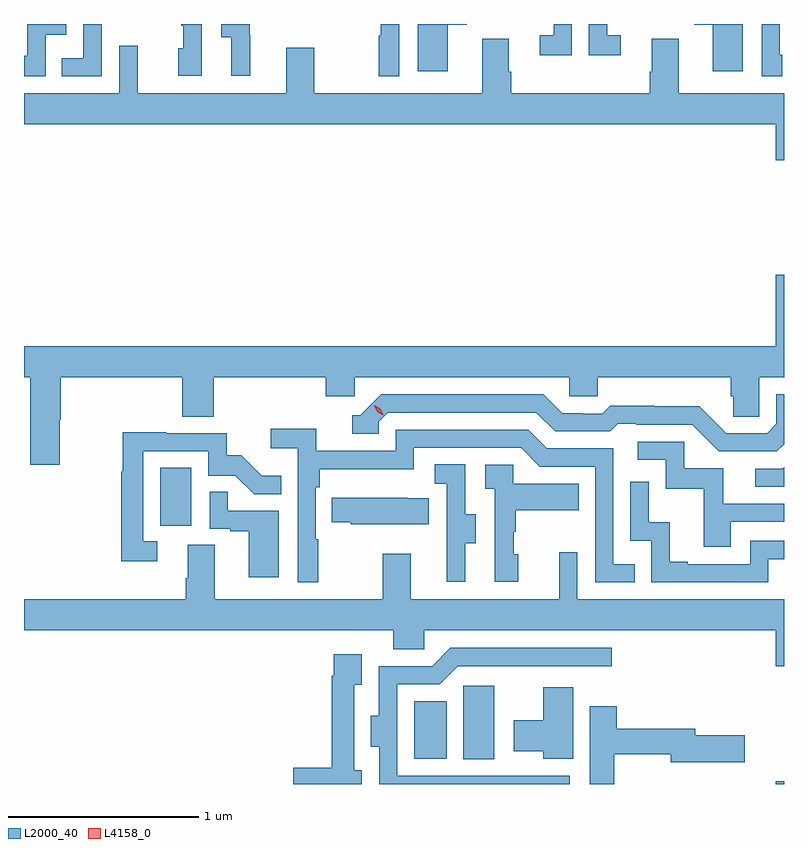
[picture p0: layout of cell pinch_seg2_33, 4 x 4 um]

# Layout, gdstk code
import gdstk
lib = gdstk.Library(unit=1e-6, precision=1e-09)
def R(c, l, rs):  # rectangles x0, y0, x1, y1
    for r in rs: c.add(gdstk.rectangle(r[:2], r[2:], *l))
def P(c, l, *ps):  # polygons
    for p in ps: c.add(gdstk.Polygon(p, *l))
L2000_40 = (2000, 40)
L4158_0 = (4158, 0)

pinch_seg2_33 = lib.new_cell('pinch_seg2_33')
R(pinch_seg2_33, L2000_40, [(1124.048,650.824,1124.092,650.839), (1122.404,650.953,1122.568,651.34), (1122.146,650.957,1122.316,651.259), (1120.808,652.182,1120.972,652.489)])
P(pinch_seg2_33, L2000_40, [(1123.876,654.824),(1123.619,654.824),(1123.619,654.819),(1123.718,654.819),(1123.718,654.576),(1123.876,654.576)],
  [(1124.083,654.661),(1124.07,654.661),(1124.07,654.824),(1123.974,654.824),(1123.974,654.549),(1124.083,654.549)],
  [(1123.234,654.765),(1123.161,654.765),(1123.161,654.824),(1123.065,654.824),(1123.065,654.66),(1123.234,654.66)],
  [(1122.975,654.824),(1122.879,654.824),(1122.879,654.765),(1122.807,654.765),(1122.807,654.66),(1122.975,654.66)],
  [(1122.066,654.824),(1121.969,654.824),(1121.969,654.761),(1121.958,654.761),(1121.958,654.549),(1122.066,654.549)],
  [(1120.5,654.824),(1120.404,654.824),(1120.404,654.645),(1120.291,654.645),(1120.291,654.549),(1120.5,654.549)],
  [(1122.322,654.819),(1122.422,654.819),(1122.422,654.824),(1122.164,654.824),(1122.164,654.576),(1122.322,654.576)],
  [(1120.206,654.768),(1120.314,654.768),(1120.314,654.824),(1120.109,654.824),(1120.109,654.658),(1120.092,654.658),(1120.092,654.549),(1120.206,654.549)],
  [(1121.282,654.765),(1121.28,654.765),(1121.28,654.824),(1121.129,654.824),(1121.129,654.754),(1121.183,654.754),(1121.183,654.552),(1121.282,654.552)],
  [(1121.028,654.824),(1120.92,654.824),(1120.92,654.815),(1120.93,654.815),(1120.93,654.696),(1120.904,654.696),(1120.904,654.552),(1121.028,654.552)],
  [(1124.092,654.46),(1123.537,654.46),(1123.537,654.746),(1123.397,654.746),(1123.397,654.572),(1123.385,654.572),(1123.385,654.46),(1122.656,654.46),(1122.656,654.572),(1122.643,654.572),(1122.643,654.746),(1122.503,654.746),(1122.503,654.46),(1121.619,654.46),(1121.619,654.7),(1121.471,654.7),(1121.471,654.46),(1120.691,654.46),(1120.691,654.709),(1120.593,654.709),(1120.593,654.46),(1120.092,654.46),(1120.092,654.296),(1124.048,654.296),(1124.048,654.108),(1124.092,654.108)],
  [(1120.281,652.742),(1120.286,652.742),(1120.286,652.964),(1120.925,652.964),(1120.925,652.756),(1121.09,652.756),(1121.09,652.964),(1121.681,652.964),(1121.681,652.866),(1121.832,652.866),(1121.832,652.964),(1122.963,652.964),(1122.963,652.866),(1123.113,652.866),(1123.113,652.964),(1123.811,652.964),(1123.811,652.866),(1123.825,652.866),(1123.825,652.756),(1123.962,652.756),(1123.962,652.964),(1124.092,652.964),(1124.092,653.503),(1124.048,653.503),(1124.048,653.128),(1120.092,653.128),(1120.092,652.964),(1120.126,652.964),(1120.126,652.503),(1120.281,652.503)],
  [(1124.092,652.612),(1124.092,652.875),(1124.052,652.875),(1124.052,652.719),(1124.004,652.671),(1123.788,652.671),(1123.646,652.813),(1123.41,652.813),(1123.41,652.816),(1123.177,652.816),(1123.135,652.773),(1123.032,652.773),(1123.032,652.776),(1122.925,652.776),(1122.826,652.875),(1121.973,652.875),(1121.862,652.764),(1121.819,652.764),(1121.819,652.668),(1121.958,652.668),(1121.958,652.731),(1122.006,652.779),(1122.789,652.779),(1122.888,652.68),(1123.177,652.68),(1123.216,652.719),(1123.315,652.719),(1123.315,652.716),(1123.608,652.716),(1123.749,652.575),(1124.055,652.575)],
  [(1121.641,652.112),(1121.628,652.112),(1121.628,652.385),(1121.648,652.385),(1121.648,652.481),(1122.144,652.481),(1122.144,652.593),(1122.708,652.593),(1122.807,652.494),(1123.098,652.494),(1123.098,651.885),(1123.307,651.885),(1123.307,651.981),(1123.194,651.981),(1123.194,652.59),(1122.844,652.59),(1122.745,652.689),(1122.048,652.689),(1122.048,652.578),(1121.63,652.578),(1121.63,652.694),(1121.391,652.694),(1121.391,652.592),(1121.532,652.592),(1121.532,651.885),(1121.641,651.885)],
  [(1120.792,652.101),(1120.719,652.101),(1120.719,652.575),(1121.061,652.575),(1121.061,652.446),(1121.205,652.446),(1121.303,652.348),(1121.447,652.348),(1121.447,652.447),(1121.343,652.447),(1121.236,652.554),(1121.16,652.554),(1121.16,652.671),(1120.841,652.671),(1120.841,652.676),(1120.611,652.676),(1120.611,652.468),(1120.603,652.468),(1120.603,651.996),(1120.792,651.996)],
  [(1123.813,652.203),(1124.092,652.203),(1124.092,652.299),(1123.771,652.299),(1123.771,652.485),(1123.566,652.485),(1123.566,652.626),(1123.323,652.626),(1123.323,652.53),(1123.47,652.53),(1123.47,652.377),(1123.669,652.377),(1123.669,652.074),(1123.813,652.074)],
  [(1122.415,652.09),(1122.469,652.09),(1122.469,652.245),(1122.414,652.245),(1122.414,652.508),(1122.255,652.508),(1122.255,652.405),(1122.318,652.405),(1122.318,652.101),(1122.317,652.101),(1122.317,651.888),(1122.415,651.888)],
  [(1122.694,652.032),(1122.669,652.032),(1122.669,652.151),(1122.679,652.151),(1122.679,652.265),(1123.013,652.265),(1123.013,652.405),(1122.666,652.405),(1122.666,652.503),(1122.519,652.503),(1122.519,652.379),(1122.57,652.379),(1122.57,651.888),(1122.694,651.888)],
  [(1124.092,652.492),(1124.082,652.482),(1123.941,652.482),(1123.941,652.389),(1124.092,652.389)],
  [(1124.01,652.008),(1124.092,652.008),(1124.092,652.104),(1123.914,652.104),(1123.914,651.981),(1123.585,651.981),(1123.585,651.994),(1123.49,651.994),(1123.49,652.202),(1123.38,652.202),(1123.38,652.414),(1123.284,652.414),(1123.284,652.104),(1123.392,652.104),(1123.392,651.885),(1124.01,651.885)],
  [(1121.434,652.263),(1121.165,652.263),(1121.165,652.361),(1121.07,652.361),(1121.07,652.167),(1121.177,652.167),(1121.177,652.155),(1121.276,652.155),(1121.276,651.912),(1121.434,651.912)],
  [(1122.221,652.327),(1122.113,652.327),(1122.113,652.33),(1121.713,652.33),(1121.713,652.201),(1121.811,652.201),(1121.811,652.19),(1122.221,652.19)],
  [(1124.092,651.796),(1123.005,651.796),(1123.005,652.045),(1122.908,652.045),(1122.908,651.796),(1122.127,651.796),(1122.127,652.036),(1121.98,652.036),(1121.98,651.796),(1121.095,651.796),(1121.095,652.082),(1120.955,652.082),(1120.955,651.908),(1120.943,651.908),(1120.943,651.796),(1120.092,651.796),(1120.092,651.632),(1122.035,651.632),(1122.035,651.534),(1122.198,651.534),(1122.198,651.632),(1124.048,651.632),(1124.048,651.444),(1124.092,651.444)],
  [(1122.964,650.868),(1122.057,650.868),(1122.057,651.348),(1122.279,651.348),(1122.375,651.444),(1123.186,651.444),(1123.186,651.54),(1122.336,651.54),(1122.24,651.444),(1121.96,651.444),(1121.96,651.184),(1121.918,651.184),(1121.918,651.02),(1121.961,651.02),(1121.961,650.824),(1122.964,650.824)],
  [(1121.869,650.896),(1121.829,650.896),(1121.829,651.347),(1121.869,651.347),(1121.869,651.508),(1121.721,651.508),(1121.721,651.395),(1121.713,651.395),(1121.713,650.909),(1121.508,650.909),(1121.508,650.824),(1121.869,650.824)],
  [(1122.982,651.334),(1122.824,651.334),(1122.824,651.16),(1122.669,651.16),(1122.669,650.996),(1122.824,650.996),(1122.824,650.957),(1122.982,650.957)],
  [(1123.198,650.98),(1123.496,650.98),(1123.496,650.938),(1123.885,650.938),(1123.885,651.08),(1123.624,651.08),(1123.624,651.116),(1123.211,651.116),(1123.211,651.232),(1123.07,651.232),(1123.07,650.824),(1123.198,650.824)])
P(pinch_seg2_33, L4158_0, [(1121.982,652.765),(1121.951,652.784),(1121.935,652.817),(1121.935,652.817),(1121.935,652.817),(1121.966,652.798),(1121.982,652.765),(1121.982,652.765)])

lib.write_gds('pinch_seg2_33.gds')
